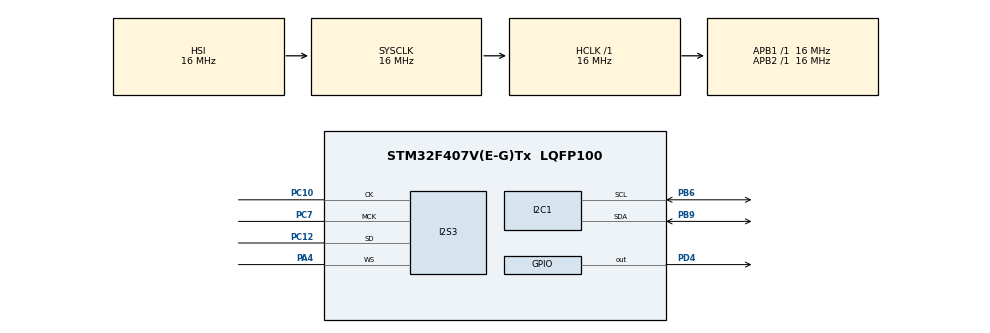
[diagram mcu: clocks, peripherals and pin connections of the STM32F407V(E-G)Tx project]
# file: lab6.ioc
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Dma.Request0=SPI3_TX
Dma.SPI3_TX.0.Direction=DMA_MEMORY_TO_PERIPH
Dma.SPI3_TX.0.FIFOMode=DMA_FIFOMODE_ENABLE
Dma.SPI3_TX.0.FIFOThreshold=DMA_FIFO_THRESHOLD_FULL
Dma.SPI3_TX.0.Instance=DMA1_Stream5
Dma.SPI3_TX.0.MemBurst=DMA_MBURST_SINGLE
Dma.SPI3_TX.0.MemDataAlignment=DMA_MDATAALIGN_HALFWORD
Dma.SPI3_TX.0.MemInc=DMA_MINC_ENABLE
Dma.SPI3_TX.0.Mode=DMA_CIRCULAR
Dma.SPI3_TX.0.PeriphBurst=DMA_PBURST_SINGLE
Dma.SPI3_TX.0.PeriphDataAlignment=DMA_PDATAALIGN_HALFWORD
Dma.SPI3_TX.0.PeriphInc=DMA_PINC_DISABLE
Dma.SPI3_TX.0.Priority=DMA_PRIORITY_LOW
I2S3.AudioFreq=I2S_AUDIOFREQ_48K
I2S3.ErrorAudioFreq=-2.34 %
I2S3.FullDuplexMode=I2S_FULLDUPLEXMODE_DISABLE
I2S3.Instance=SPI$Index
I2S3.RealAudioFreq=46.875 KHz
I2S3.VirtualMode=I2S_MODE_MASTER
Mcu.Family=STM32F4
Mcu.Name=STM32F407V(E-G)Tx
Mcu.Package=LQFP100
NVIC.DMA1_Stream5_IRQn=true\:0\:0\:false\:false\:true\:false\:true\:true
NVIC.PriorityGroup=NVIC_PRIORITYGROUP_4
PA4.Mode=Half_Duplex_Master
PA4.Signal=I2S3_WS
PB6.Mode=I2C
PB6.Signal=I2C1_SCL
PB9.Mode=I2C
PB9.Signal=I2C1_SDA
PC10.Mode=Half_Duplex_Master
PC10.Signal=I2S3_CK
PC12.Mode=Half_Duplex_Master
PC12.Signal=I2S3_SD
PC7.Mode=Master_Clock_Activated
PC7.Signal=I2S3_MCK
PD4.Signal=GPIO_Output
ProjectManager.HeapSize=0x200
ProjectManager.StackSize=0x400
ProjectManager.TargetToolchain=STM32CubeIDE
RCC.AHBFreq_Value=16000000
RCC.APB1Freq_Value=16000000
RCC.APB2Freq_Value=16000000
RCC.CortexFreq_Value=16000000
RCC.HSE_VALUE=25000000
RCC.HSI_VALUE=16000000
RCC.LSE_VALUE=32768
RCC.SYSCLKFreq_VALUE=16000000
RCC.VCOOutputFreq_Value=192000000
board=custom

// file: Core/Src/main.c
/* USER CODE BEGIN Header */
/**
  ******************************************************************************
  * @file           : main.c
  * @brief          : Main program body
  ******************************************************************************
  * @attention
  *
  * Copyright (c) 2024 STMicroelectronics.
  * All rights reserved.
  *
  * This software is licensed under terms that can be found in the LICENSE file
  * in the root directory of this software component.
  * If no LICENSE file comes with this software, it is provided AS-IS.
  *
  ******************************************************************************
  */
/* USER CODE END Header */
#include "main.h"

/* USER CODE BEGIN PTD */

// Beep frequency
//0000 260.87 Hz C4
//0001 521.74 Hz C5
//0010 585.37 Hz D5
//0011 666.67 Hz E5
//0100 705.88 Hz F5
//0101 774.19 Hz G5
//0110 888.89 Hz A5
//0111 1000.00 Hz B5
//1000 1043.48 Hz C6
//1001 1200.00 Hz D6
//1010 1333.33 Hz E6
//1011 1411.76 Hz F6
//1100 1600.00 Hz G6
//1101 1714.29 Hz A6
//1110 2000.00 Hz B6
//1111 2181.82 Hz C7
typedef enum {
    C4 = 0x00,  // 260.87 Hz
    C5 = 0x01,  // 521.74 Hz
    D5 = 0x02,  // 585.37 Hz
    E5 = 0x03,  // 666.67 Hz
    F5 = 0x04,  // 705.88 Hz
    G5 = 0x05,  // 774.19 Hz
    A5 = 0x06,  // 888.89 Hz
    B5 = 0x07,  // 1000.00 Hz
    C6 = 0x08,  // 1043.48 Hz
    D6 = 0x09,  // 1200.00 Hz
    E6 = 0x0A,  // 1333.33 Hz
    F6 = 0x0B,  // 1411.76 Hz
    G6 = 0x0C,  // 1600.00 Hz
    A6 = 0x0D,  // 1714.29 Hz
    B6 = 0x0E,  // 2000.00 Hz
    C7 = 0x0F   // 2181.82 Hz
} SoundTone;

#define CS43L22_I2C_ADDR 0x94
#define I2C_TIMEOUT 10

uint16_t data_i2s[100] = { 0 };

/* USER CODE END PTD */

I2C_HandleTypeDef hi2c1;

I2S_HandleTypeDef hi2s3;
DMA_HandleTypeDef hdma_spi3_tx;

void SystemClock_Config(void);
static void MX_GPIO_Init(void);
static void MX_DMA_Init(void);
static void MX_I2C1_Init(void);
static void MX_I2S3_Init(void);

/* USER CODE BEGIN 0 */

void transmit(uint8_t* buffer) {
	HAL_StatusTypeDef res = HAL_I2C_Master_Transmit(&hi2c1, CS43L22_I2C_ADDR, buffer, 2, I2C_TIMEOUT);
	if (res != HAL_OK) {
		Error_Handler();
	}
}

void CS43L22_INIT(void) {
	HAL_GPIO_WritePin(GPIOD, GPIO_PIN_4, GPIO_PIN_SET);
	uint8_t buffer[2];

// 7.10 Playback Control 1 (Address 0Dh)
	buffer[0] = 0x0D;
	buffer[1] = 0x01;
	transmit(buffer);

//	Required Initialization Settings
//	Various sections in the device must be adjusted by implementing the initialization settings shown below after
//	power-up sequence step 3. All performance and power consumption measurements were taken with the
//	following settings:
//	1. Write 0x99 to register 0x00.
//	2. Write 0x80 to register 0x47.
//	3. Write ‘1’b to bit 7 in register 0x32.
//	4. Write ‘0’b to bit 7 in register 0x32.
//	5. Write 0x00 to register 0x00.
	buffer[0] = 0x00;
	buffer[1] = 0x99;
	transmit(buffer);

	buffer[0] = 0x47;
	buffer[1] = 0x80;
	transmit(buffer);

	buffer[0] = 0x32;
	buffer[1] = 0xFF;
	transmit(buffer);

	buffer[0] = 0x32;
	buffer[1] = 0x7F;
	transmit(buffer);

	buffer[0] = 0x00;
	buffer[1] = 0x00;
	transmit(buffer);

	buffer[0] = 0x04;
	buffer[1] = 0xAF;
	transmit(buffer);

	buffer[0] = 0x0D;
	buffer[1] = 0x00; //0x70;
	transmit(buffer);

	buffer[0] = 0x05;
	buffer[1] = 0x81;
	transmit(buffer);

	buffer[0] = 0x06;
	buffer[1] = 0x07;
	transmit(buffer);

	buffer[0] = 0x0A;
	buffer[1] = 0x00;
	transmit(buffer);

	buffer[0] = 0x27;
	buffer[1] = 0x00;
	transmit(buffer);

	buffer[0] = 0x1A;
	buffer[1] = 0x0A;
	transmit(buffer);

	buffer[0] = 0x1B;
	buffer[1] = 0x0A;
	transmit(buffer);

	buffer[0] = 0x1F;
	buffer[1] = 0x0F;
	transmit(buffer);

	buffer[0] = 0x02;
	buffer[1] = 0x9E;
	transmit(buffer);
}

void CS43L22_Beep(SoundTone pitch, uint32_t duration_ms) {
	uint8_t buffer[2];

	buffer[0] = 0x1D; // register
	buffer[1] = 0x00; // volume
	transmit(buffer);

	buffer[0] = 0x1C;
	buffer[1] = (uint8_t)pitch << 4;
	transmit(buffer);

	buffer[0] = 0x1E;
	buffer[1] = 0xC0;
	transmit(buffer);

	HAL_Delay(duration_ms);

	buffer[0] = 0x1E;
	buffer[1] = 0x00;
	transmit(buffer);
}

/* USER CODE END 0 */

int main(void)
{

  /* MCU Configuration--------------------------------------------------------*/

  /* Reset of all peripherals, Initializes the Flash interface and the Systick. */
  HAL_Init();

  /* Configure the system clock */
  SystemClock_Config();

  /* Initialize all configured peripherals */
  MX_GPIO_Init();
  MX_DMA_Init();
  MX_I2C1_Init();
  MX_I2S3_Init();
  /* USER CODE BEGIN 2 */

  CS43L22_INIT();
  HAL_I2S_Transmit_DMA(&hi2s3, data_i2s, sizeof(data_i2s));

  /* USER CODE END 2 */

  /* Infinite loop */
  /* USER CODE BEGIN WHILE */
  while (1)
  {
	  CS43L22_Beep(A5,300);
	  HAL_Delay(100);

	  CS43L22_Beep(D6,300);
	  HAL_Delay(100);

	  CS43L22_Beep(D6,300);
	  HAL_Delay(100);

	  CS43L22_Beep(A5,400);
	  HAL_Delay(200);

	  CS43L22_Beep(G5,300);
	  HAL_Delay(150);

	  CS43L22_Beep(A5,350);
	  HAL_Delay(100);

	  CS43L22_Beep(C6,300);
	  HAL_Delay(100);

	  CS43L22_Beep(E6,350);
	  HAL_Delay(150);

	  CS43L22_Beep(D6,400);
	  HAL_Delay(200);

	  CS43L22_Beep(B5,300);
	  HAL_Delay(100);

	  CS43L22_Beep(A5,400);
	  HAL_Delay(250);
    /* USER CODE END WHILE */

  }
}

void SystemClock_Config(void)
{
  RCC_OscInitTypeDef RCC_OscInitStruct = {0};
  RCC_ClkInitTypeDef RCC_ClkInitStruct = {0};

  /** Macro to configure the PLL multiplication factor
  */
  __HAL_RCC_PLL_PLLM_CONFIG(16);

  /** Macro to configure the PLL clock source
  */
  __HAL_RCC_PLL_PLLSOURCE_CONFIG(RCC_PLLSOURCE_HSI);

  /** Configure the main internal regulator output voltage
  */
  __HAL_RCC_PWR_CLK_ENABLE();
  __HAL_PWR_VOLTAGESCALING_CONFIG(PWR_REGULATOR_VOLTAGE_SCALE1);

  /** Initializes the RCC Oscillators according to the specified parameters
  * in the RCC_OscInitTypeDef structure.
  */
  RCC_OscInitStruct.OscillatorType = RCC_OSCILLATORTYPE_HSI;
  RCC_OscInitStruct.HSIState = RCC_HSI_ON;
  RCC_OscInitStruct.HSICalibrationValue = RCC_HSICALIBRATION_DEFAULT;
  RCC_OscInitStruct.PLL.PLLState = RCC_PLL_NONE;
  RCC_OscInitStruct.PLL.PLLSource = RCC_PLLSOURCE_HSI;
  if (HAL_RCC_OscConfig(&RCC_OscInitStruct) != HAL_OK)
  {
    Error_Handler();
  }

  /** Initializes the CPU, AHB and APB buses clocks
  */
  RCC_ClkInitStruct.ClockType = RCC_CLOCKTYPE_HCLK|RCC_CLOCKTYPE_SYSCLK
                              |RCC_CLOCKTYPE_PCLK1|RCC_CLOCKTYPE_PCLK2;
  RCC_ClkInitStruct.SYSCLKSource = RCC_SYSCLKSOURCE_HSI;
  RCC_ClkInitStruct.AHBCLKDivider = RCC_SYSCLK_DIV1;
  RCC_ClkInitStruct.APB1CLKDivider = RCC_HCLK_DIV1;
  RCC_ClkInitStruct.APB2CLKDivider = RCC_HCLK_DIV1;

  if (HAL_RCC_ClockConfig(&RCC_ClkInitStruct, FLASH_LATENCY_0) != HAL_OK)
  {
    Error_Handler();
  }
}

static void MX_I2C1_Init(void)
{

  hi2c1.Instance = I2C1;
  hi2c1.Init.ClockSpeed = 100000;
  hi2c1.Init.DutyCycle = I2C_DUTYCYCLE_2;
  hi2c1.Init.OwnAddress1 = 0;
  hi2c1.Init.AddressingMode = I2C_ADDRESSINGMODE_7BIT;
  hi2c1.Init.DualAddressMode = I2C_DUALADDRESS_DISABLE;
  hi2c1.Init.OwnAddress2 = 0;
  hi2c1.Init.GeneralCallMode = I2C_GENERALCALL_DISABLE;
  hi2c1.Init.NoStretchMode = I2C_NOSTRETCH_DISABLE;
  if (HAL_I2C_Init(&hi2c1) != HAL_OK)
  {
    Error_Handler();
  }

}

static void MX_I2S3_Init(void)
{

  hi2s3.Instance = SPI3;
  hi2s3.Init.Mode = I2S_MODE_MASTER_TX;
  hi2s3.Init.Standard = I2S_STANDARD_PHILIPS;
  hi2s3.Init.DataFormat = I2S_DATAFORMAT_16B;
  hi2s3.Init.MCLKOutput = I2S_MCLKOUTPUT_ENABLE;
  hi2s3.Init.AudioFreq = I2S_AUDIOFREQ_48K;
  hi2s3.Init.CPOL = I2S_CPOL_LOW;
  hi2s3.Init.ClockSource = I2S_CLOCK_PLL;
  hi2s3.Init.FullDuplexMode = I2S_FULLDUPLEXMODE_DISABLE;
  if (HAL_I2S_Init(&hi2s3) != HAL_OK)
  {
    Error_Handler();
  }

}

static void MX_DMA_Init(void)
{

  /* DMA controller clock enable */
  __HAL_RCC_DMA1_CLK_ENABLE();

  /* DMA interrupt init */
  /* DMA1_Stream5_IRQn interrupt configuration */
  HAL_NVIC_SetPriority(DMA1_Stream5_IRQn, 0, 0);
  HAL_NVIC_EnableIRQ(DMA1_Stream5_IRQn);

}

static void MX_GPIO_Init(void)
{
  GPIO_InitTypeDef GPIO_InitStruct = {0};

  /* GPIO Ports Clock Enable */
  __HAL_RCC_GPIOA_CLK_ENABLE();
  __HAL_RCC_GPIOC_CLK_ENABLE();
  __HAL_RCC_GPIOD_CLK_ENABLE();
  __HAL_RCC_GPIOB_CLK_ENABLE();

  /*Configure GPIO pin Output Level */
  HAL_GPIO_WritePin(GPIOD, GPIO_PIN_4, GPIO_PIN_RESET);

  /*Configure GPIO pin : PD4 */
  GPIO_InitStruct.Pin = GPIO_PIN_4;
  GPIO_InitStruct.Mode = GPIO_MODE_OUTPUT_PP;
  GPIO_InitStruct.Pull = GPIO_NOPULL;
  GPIO_InitStruct.Speed = GPIO_SPEED_FREQ_LOW;
  HAL_GPIO_Init(GPIOD, &GPIO_InitStruct);

}

void Error_Handler(void)
{
  __disable_irq();
  while (1)
  {
  }
}
